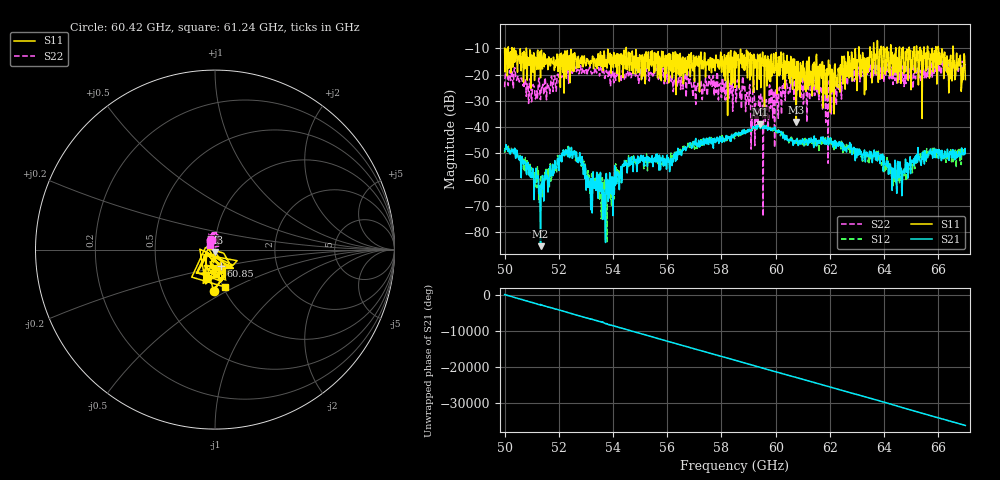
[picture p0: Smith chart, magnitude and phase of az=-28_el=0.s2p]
!Created with skrf (http://scikit-rf.org).
# GHz S RI R 50.0
!freq ReS11 ImS11 ReS21 ImS21 ReS12 ImS12 ReS22 ImS22
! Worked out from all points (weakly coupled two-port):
!   1001 points, 50 GHz to 67 GHz, reference 50 ohm
!   highest |S21| = -39.01 dB at 59.42 GHz (marker M1); lowest = -85.4 dB at 51.33 GHz (marker M2)
!   lowest |S11| = -38.0 dB at 60.76 GHz (marker M3), VSWR 1.03, Z = 49.9 - j1.25 ohm
!   |S11| at or under -10 dB: 50.8 GHz to 54.49 GHz (3.686 GHz wide, 7 % of centre); 54.49 GHz to 63.07 GHz (8.582 GHz wide, 14.6 % of centre); 66.01 GHz to 66.54 GHz (533.1 MHz wide, 0.804 % of centre) (the widest 3 of 28)
!   |S22| runs from -74.0 to -14.0 dB; largest |S21 - S12| = 0.002
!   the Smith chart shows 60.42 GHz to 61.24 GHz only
!   S11 on the Smith chart (normalised r, x): 60.42 GHz: 0.88, -0.44; 60.85 GHz: 1.05, -0.19; 61.24 GHz: 1.02, -0.45
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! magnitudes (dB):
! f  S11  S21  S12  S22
! 50 GHz  -9.9  -49.0  -49.8  -24.8
! 51.33 GHz  -21.2  -85.4  -62.1  -29.5
! 52.21 GHz  -13.5  -51.0  -49.6  -19.8
! 52.84 GHz  -13.3  -54.7  -54.9  -19.5
! 53.64 GHz  -18.5  -64.2  -60.9  -17.9
! 53.96 GHz  -15.4  -59.0  -62.6  -18.5
! 54.42 GHz  -16.0  -53.9  -52.1  -21.8
! 55.68 GHz  -13.5  -52.7  -54.3  -21.8
! 58.5 GHz  -24.9  -42.4  -42.8  -23.9
! 59.42 GHz  -12.9  -39.0  -39.7  -34.6
! 59.62 GHz  -12.8  -40.1  -40.4  -37.8
! 59.84 GHz  -12.2  -40.6  -40.6  -25.2
! 60.42 GHz  -12.7  -44.9  -44.3  -24.4
! 60.76 GHz  -38.0  -45.4  -45.8  -28.5
! 60.85 GHz  -20.3  -46.8  -45.7  -21.8
! 61.24 GHz  -13.3  -44.3  -46.0  -28.3
! 61.34 GHz  -28.1  -45.3  -45.1  -25.7
! 62 GHz  -16.4  -45.0  -46.0  -24.6
! 62.53 GHz  -13.0  -47.9  -46.8  -19.0
! 64.18 GHz  -19.1  -54.8  -53.4  -18.5
! 66.08 GHz  -16.0  -50.6  -51.6  -15.8
! 67 GHz  -21.9  -50.1  -50.2  -15.9
